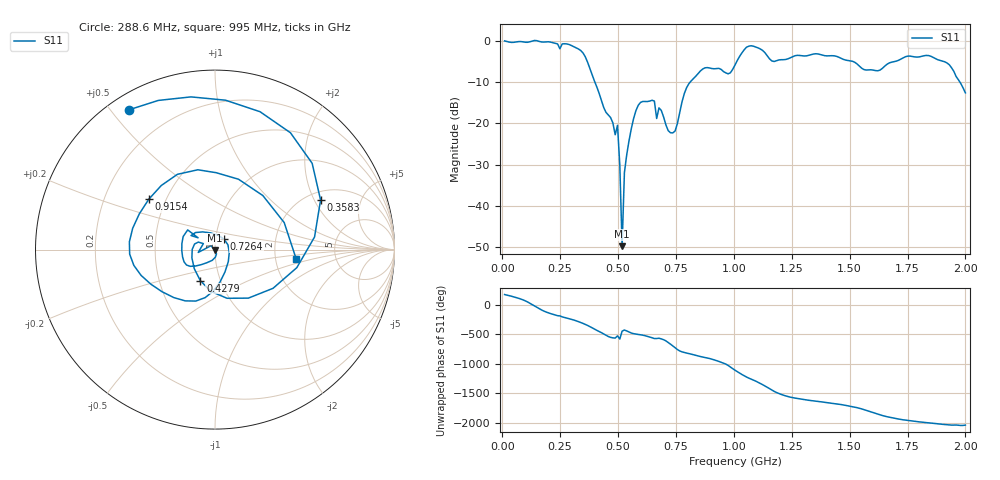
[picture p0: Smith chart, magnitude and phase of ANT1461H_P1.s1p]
!Created with skrf (http://scikit-rf.org).
# Hz S RI R 50.0
!freq ReS11 ImS11
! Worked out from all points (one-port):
!   201 points, 10 MHz to 2 GHz, reference 50 ohm
!   lowest |S11| = -49.9 dB at 517.5 MHz (marker M1), VSWR 1.01, Z = 50 - j0.321 ohm
!   |S11| at or under -10 dB: 400.3 MHz to 810.3 MHz (410 MHz wide, 67.7 % of centre); 1.977 GHz to end of sweep
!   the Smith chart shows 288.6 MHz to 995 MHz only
!   S11 on the Smith chart (normalised r, x): 288.6 MHz: 0.06, +0.56; 358.2 MHz: 2.35, +2.25; 427.9 MHz: 0.80, -0.29; 726.4 MHz: 1.10, +0.13; 915.5 MHz: 0.40, +0.29; 995 MHz: 2.62, -0.35
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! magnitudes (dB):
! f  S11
! 10 MHz  0.1
! 258.8 MHz  -0.6
! 288.6 MHz  -0.8
! 358.2 MHz  -3.7
! 427.9 MHz  -14.4
! 487.6 MHz  -22.7
! 497.6 MHz  -20.5
! 507.5 MHz  -30.1
! 517.5 MHz  -49.9
! 527.4 MHz  -32.0
! 577.1 MHz  -16.9
! 656.8 MHz  -14.5
! 666.7 MHz  -18.8
! 676.6 MHz  -16.2
! 726.4 MHz  -22.3
! 756.2 MHz  -20.0
! 806 MHz  -10.3
! 915.5 MHz  -6.7
! 995 MHz  -6.8
! 1.005 GHz  -5.8
! 1.075 GHz  -1.1
! 1.164 GHz  -4.8
! 1.254 GHz  -3.7
! 1.502 GHz  -4.7
! 1.622 GHz  -7.2
! 1.751 GHz  -3.6
! 1.92 GHz  -5.3
! 2 GHz  -12.5
